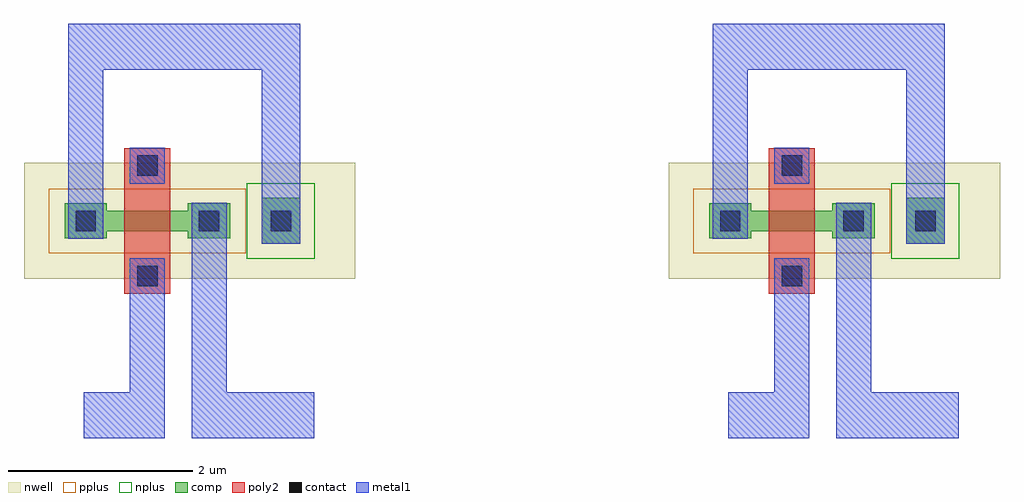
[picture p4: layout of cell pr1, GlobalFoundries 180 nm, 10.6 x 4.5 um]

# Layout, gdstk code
import gdstk
lib = gdstk.Library(unit=1e-6, precision=1e-09)
def R(c, l, rs):  # rectangles x0, y0, x1, y1
    for r in rs: c.add(gdstk.rectangle(r[:2], r[2:], *l))
nwell = (21, 0)
comp = (22, 0)
poly2 = (30, 0)
pplus = (31, 0)
nplus = (32, 0)
contact = (33, 0)
metal1 = (34, 0)

pfet__16 = lib.new_cell('pfet__16')
R(pfet__16, nwell, [(-0.9,-0.52,1.78,0.74)])
R(pfet__16, comp, [(-0.46,-0.08,0,0.3), (0.88,-0.08,1.34,0.3), (0,0,0.88,0.22)])
R(pfet__16, poly2, [(0.19,-0.68,0.69,-0.3), (0.19,-0.3,0.69,0.52), (0.19,0.52,0.69,0.9)])
R(pfet__16, pplus, [(-0.63,-0.24,1.51,0.46)])
R(pfet__16, contact, [(0.33,-0.6,0.55,-0.38), (-0.34,0,-0.12,0.22), (1,0,1.22,0.22), (0.33,0.6,0.55,0.82)])
R(pfet__16, metal1, [(0.25,-0.685,0.63,-0.295), (-0.42,-0.085,-0.04,0.305), (0.92,-0.085,1.3,0.305), (0.25,0.515,0.63,0.905)])

pr1 = lib.new_cell('pr1')
R(pr1, nwell, [(-0.1,-0.52,2.7,0.74), (6.9,-0.52,9.7,0.74)])
R(pr1, comp, [(1.68,-0.14,2.1,0.36), (8.68,-0.14,9.1,0.36)])
R(pr1, nplus, [(1.52,-0.3,2.26,0.52), (8.52,-0.3,9.26,0.52)])
R(pr1, contact, [(1.78,0,2,0.22), (8.78,0,9,0.22)])
R(pr1, metal1, [(-0.25,-2.25,0.63,-1.75), (0.25,-2.25,0.63,-0.665), (0.92,-2.25,1.3,-0.065), (0.92,-2.25,2.25,-1.75), (6.75,-2.25,7.63,-1.75), (7.25,-2.25,7.63,-0.665), (7.92,-2.25,8.3,-0.065), (7.92,-2.25,9.25,-1.75), (1.68,-0.14,2.1,0.36), (8.68,-0.14,9.1,0.36), (-0.42,0.285,-0.04,2.25), (6.58,0.285,6.96,2.25), (1.68,0.34,2.1,2.25), (8.68,0.34,9.1,2.25), (-0.42,1.75,2.1,2.25), (6.58,1.75,9.1,2.25)])
pr1.add(gdstk.Reference(pfet__16, (0,0)))
pr1.add(gdstk.Reference(pfet__16, (7,0)))

lib.write_gds('pr1.gds')
